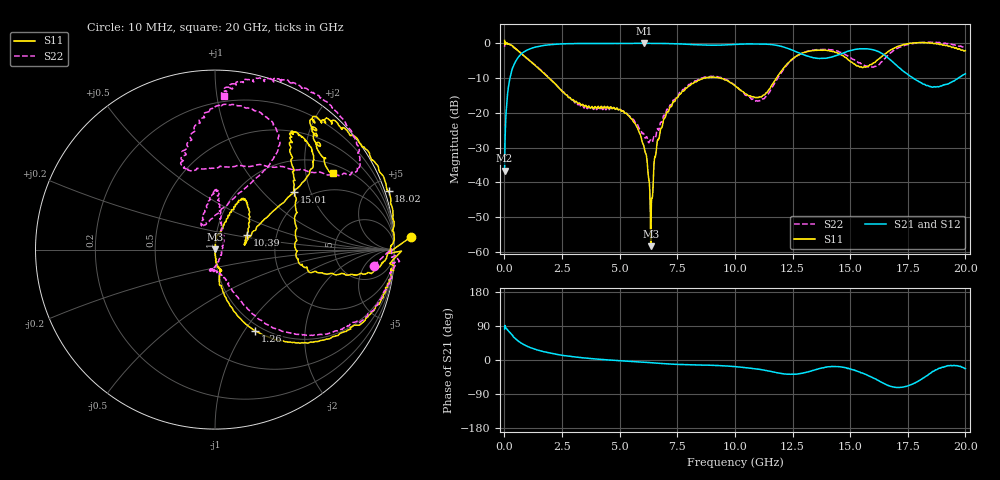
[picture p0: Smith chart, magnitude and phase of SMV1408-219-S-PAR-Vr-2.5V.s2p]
! Skyworks SMV1408-219 De-embedded S-Parameter Data
! Created  11-5-2013
! 2 Port Network Data
! Mounted on Board # SK41159-3 Rev 1 in Series, Cathode is connected to RF1 as Input( Pin 1) and Anode is connected RF2 as Output(Pin 2)
! Temperature = +25 °C
! RF traces and connectors are de-embedded using TRL calibration and standards
! Reference planes are package pins
! Pin 1 Input port (S-Port1), Pin 2 Output port (S-port2)
! Pin = 0 dBm, Bias: Vr = 2.5V
! Dev # 1
#  HZ  S  DB  R  50.00
! Rohde & Schwarz ZVA24 4Ports - Version 2.90 - 1145.1110k26 SN: 100216
! Date: 2013-11-05 15:26:48
! Measurements: S11 S21 S12 S22
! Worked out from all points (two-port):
!   2000 points, 10 MHz to 20 GHz, reference 50 ohm
!   highest |S21| = -0.06 dB at 6.05 GHz (marker M1); lowest = -36.6 dB at 10 MHz (marker M2)
!   |S21| within 3 dB of the highest: 744.5 MHz to 12.87 GHz (12.13 GHz wide, 178 % of centre); 14.62 GHz to 16.4 GHz (1.781 GHz wide, 11.5 % of centre)
!   lowest |S11| = -58.3 dB at 6.35 GHz (marker M3), VSWR 1.00, Z = 49.9 + j0.0745 ohm
!   |S11| at or under -10 dB: 1.937 GHz to 8.73 GHz (6.793 GHz wide, 127 % of centre); 9.352 GHz to 11.81 GHz (2.453 GHz wide, 23.2 % of centre)
!   |S22| runs from -28.6 to 0.3 dB; largest |S21 - S12| = 0.03
!   S11 on the Smith chart (normalised r, x): 10 MHz: -15, +11; 1.26 GHz: 0.92, -1.12; 10.39 GHz: 1.41, +0.24; 15.01 GHz: 1.69, +1.55; 18.02 GHz: -0.39, +6.08; 20 GHz: 1.31, +2.84
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1e7  0.77 3.7  -36.65 81.6  -37.22 89.3  -1.03 -5.8
1.5e8  -0.14 -12.4  -13.88 78.4  -13.94 78.5  -0.15 -11.7
3.2e8  -0.69 -24.5  -7.89 67.0  -7.91 67.2  -0.66 -23.4
1.26e9  -5.95 -63.7  -1.30 29.7  -1.30 29.7  -5.93 -55.4
3.35e9  -17.77 -77.8  -0.11 6.2  -0.11 6.1  -18.08 -85.6
5.22e9  -20.09 -80.3  -0.08 -2.7  -0.09 -2.6  -19.98 -92.1
6.05e9  -29.49 -90.1  -0.06 -5.9  -0.07 -5.9  -26.05 -49.7
6.35e9  -58.29 142.2  -0.06 -7.1  -0.07 -7.1  -27.82 -5.5
6.68e9  -27.73 83.6  -0.08 -8.6  -0.09 -8.4  -24.94 41.9
8.07e9  -12.08 65.0  -0.36 -12.9  -0.37 -12.9  -11.77 86.0
1.001e10  -12.27 38.4  -0.36 -17.5  -0.37 -17.4  -12.24 101.2
1.039e10  -14.10 24.4  -0.26 -19.8  -0.28 -19.6  -14.29 110.9
1.12e10  -15.06 11.9  -0.25 -26.0  -0.26 -25.8  -16.01 107.7
1.334e10  -2.13 47.0  -4.08 -28.4  -4.09 -28.0  -2.07 68.3
1.423e10  -2.39 55.9  -3.91 -17.3  -3.92 -17.0  -1.96 89.7
1.501e10  -5.25 36.1  -2.13 -23.7  -2.13 -23.3  -4.14 103.1
1.578e10  -6.62 -6.9  -1.65 -41.1  -1.65 -40.9  -6.81 103.5
1.667e10  -2.31 -10.5  -4.38 -67.5  -4.38 -67.6  -3.36 39.6
1.731e10  -0.42 -3.2  -8.06 -71.3  -8.06 -71.0  -0.75 30.0
1.802e10  0.18 18.6  -11.18 -53.5  -11.19 -53.2  0.12 44.4
1.89e10  -0.40 47.2  -12.35 -21.4  -12.35 -20.7  0.11 68.6
2e10  -2.15 32.9  -8.79 -22.9  -8.79 -22.5  -1.31 86.6
